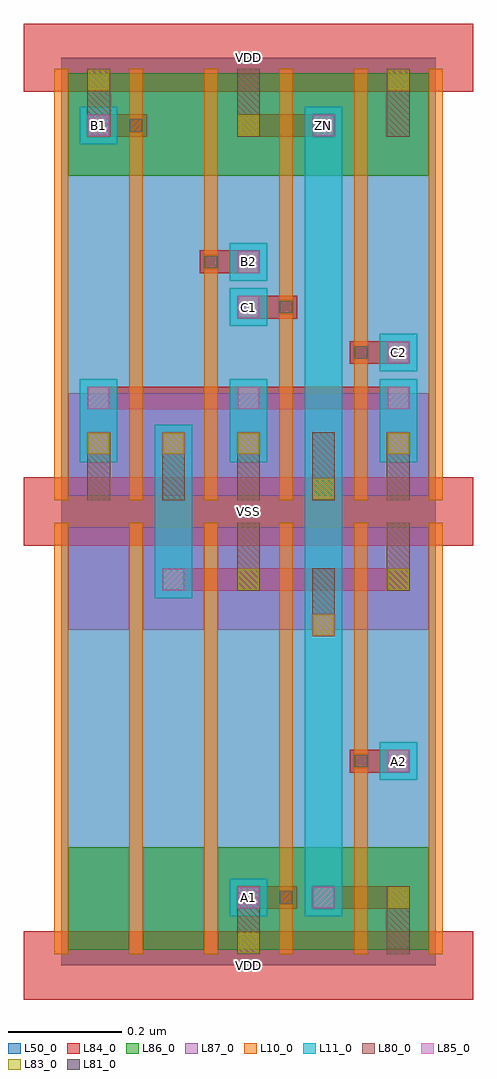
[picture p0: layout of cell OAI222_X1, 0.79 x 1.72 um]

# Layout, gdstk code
import gdstk
lib = gdstk.Library(unit=1e-6, precision=1e-09)
def R(c, l, rs):  # rectangles x0, y0, x1, y1
    for r in rs: c.add(gdstk.rectangle(r[:2], r[2:], *l))
def A(c, l, x, y, w, h, nx, ny, dx, dy):  # array of equal rectangles
    R(c, l, [(x+i*dx, y+j*dy, x+i*dx+w, y+j*dy+h) for i in range(nx) for j in range(ny)])
L10_0 = (10, 0)
L11_0 = (11, 0)
L50_0 = (50, 0)
L80_0 = (80, 0)
L81_0 = (81, 0)
L83_0 = (83, 0)
L84_0 = (84, 0)
L85_0 = (85, 0)
L86_0 = (86, 0)
L87_0 = (87, 0)

oai222_x1 = lib.new_cell('OAI222_X1')
A(oai222_x1, L10_0, -0.012, 0.02, 0.024, 0.76, 6, 2, 0.132, 0.8)
A(oai222_x1, L11_0, 0.033, 0.887, 0.066, 0.146, 3, 1, 0.264, 0)
R(oai222_x1, L11_0, [(0.297,0.087,0.363,0.153), (0.429,0.087,0.495,1.513), (0.561,0.327,0.627,0.393), (0.165,0.647,0.231,0.953), (0.561,1.047,0.627,1.113), (0.297,1.127,0.363,1.193), (0.297,1.207,0.363,1.273), (0.033,1.447,0.099,1.513)])
R(oai222_x1, L50_0, [(0,0,0.66,1.6)])
A(oai222_x1, L80_0, 0.046, 0.82, 0.04, 0.12, 5, 1, 0.132, 0)
A(oai222_x1, L80_0, 0.046, 1.46, 0.04, 0.12, 3, 1, 0.264, 0)
R(oai222_x1, L80_0, [(0.31,0.02,0.35,0.14), (0.574,0.02,0.614,0.14), (0.442,0.58,0.482,0.7), (0.31,0.66,0.35,0.78), (0.574,0.66,0.614,0.78)])
R(oai222_x1, L81_0, [(0.385,0.109,0.407,0.131), (0.517,0.349,0.539,0.371), (0.517,1.069,0.539,1.091), (0.385,1.149,0.407,1.171), (0.253,1.229,0.275,1.251), (0.121,1.469,0.143,1.491)])
A(oai222_x1, L83_0, 0.048, 0.902, 0.036, 0.036, 3, 1, 0.132, 0)
R(oai222_x1, L83_0, [(0.312,0.022,0.348,0.058), (0.576,0.102,0.612,0.138), (0.444,0.582,0.48,0.618), (0.312,0.662,0.348,0.698), (0.576,0.662,0.612,0.698), (0.444,0.822,0.48,0.858), (0.576,0.902,0.612,0.938), (0.312,1.462,0.348,1.498), (0.048,1.542,0.084,1.578), (0.576,1.542,0.612,1.578)])
A(oai222_x1, L84_0, -0.066, -0.06, 0.792, 0.12, 1, 3, 0, 0.8)
A(oai222_x1, L84_0, 0.046, 0.9, 0.04, 0.04, 3, 1, 0.132, 0)
R(oai222_x1, L84_0, [(0.31,0.1,0.416,0.14), (0.442,0.1,0.614,0.14), (0.508,0.34,0.614,0.38), (0.442,0.58,0.482,0.62), (0.178,0.66,0.614,0.7), (0.574,0.9,0.614,0.94), (0.046,0.98,0.614,1.02), (0.508,1.06,0.614,1.1), (0.31,1.14,0.416,1.18), (0.244,1.22,0.35,1.26), (0.046,1.46,0.152,1.5), (0.31,1.46,0.482,1.5)])
A(oai222_x1, L85_0, 0.047, 0.901, 0.038, 0.038, 3, 1, 0.132, 0)
A(oai222_x1, L85_0, 0.047, 0.981, 0.038, 0.038, 3, 1, 0.264, 0)
R(oai222_x1, L85_0, [(0.311,0.101,0.349,0.139), (0.443,0.101,0.481,0.139), (0.575,0.341,0.613,0.379), (0.443,0.581,0.481,0.619), (0.179,0.661,0.217,0.699), (0.575,0.901,0.613,0.939), (0.575,1.061,0.613,1.099), (0.311,1.141,0.349,1.179), (0.311,1.221,0.349,1.259), (0.047,1.461,0.085,1.499), (0.443,1.461,0.481,1.499)])
R(oai222_x1, L86_0, [(0.012,0.028,0.12,0.208), (0.144,0.028,0.252,0.208), (0.276,0.028,0.648,0.208), (0.012,1.392,0.648,1.572)])
R(oai222_x1, L87_0, [(0.012,0.592,0.12,0.772), (0.144,0.592,0.252,0.772), (0.276,0.592,0.648,0.772), (0.012,0.828,0.648,1.008)])
oai222_x1.add(gdstk.Label('VSS', (0.33,0.8), layer=88, texttype=0))
oai222_x1.add(gdstk.Label('VDD', (0.33,0), layer=88, texttype=0))
oai222_x1.add(gdstk.Label('VDD', (0.33,1.6), layer=88, texttype=0))
oai222_x1.add(gdstk.Label('C1', (0.33,1.16), layer=31, texttype=0))
oai222_x1.add(gdstk.Label('A2', (0.594,0.36), layer=31, texttype=0))
oai222_x1.add(gdstk.Label('B1', (0.066,1.48), layer=31, texttype=0))
oai222_x1.add(gdstk.Label('C2', (0.594,1.08), layer=31, texttype=0))
oai222_x1.add(gdstk.Label('B2', (0.33,1.24), layer=31, texttype=0))
oai222_x1.add(gdstk.Label('A1', (0.33,0.12), layer=31, texttype=0))
oai222_x1.add(gdstk.Label('ZN', (0.462,1.48), layer=31, texttype=0))

lib.write_gds('OAI222_X1.gds')
